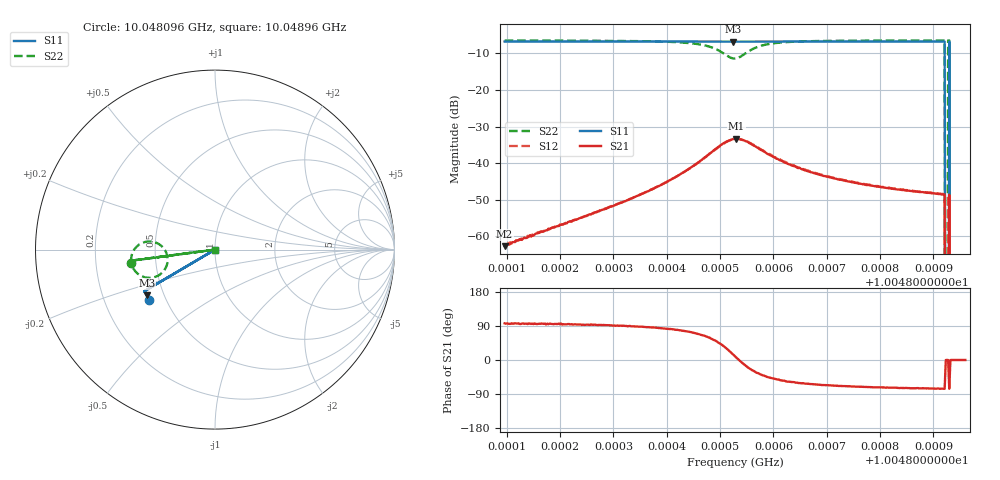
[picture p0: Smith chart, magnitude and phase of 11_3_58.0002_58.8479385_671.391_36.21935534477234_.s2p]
#  HZ  S  RI  R  50.00
! Rohde & Schwarz Vector Network Analyzer
! Rohde-Schwarz,ZNB20-2Port,1311601062101988,3.16
! Created: UTC 3/21/2024, 12:50:47 AM
! freq[Hz]  re:S11  im:S11  re:S21  im:S21  re:S12  im:S12  re:S22  im:S22
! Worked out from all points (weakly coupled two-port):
!   401 points, 10.048096 GHz to 10.04896 GHz, reference 50 ohm
!   highest |S21| = -33.35 dB at 10.04853 GHz (marker M1); lowest = -62.7 dB at 10.048096 GHz (marker M2)
!   lowest |S11| = -6.8 dB at 10.048524 GHz (marker M3), VSWR 2.68, Z = 20.1 - j12.9 ohm
!   |S11| at or under -10 dB: 10.048921 GHz to 10.04893 GHz (8.568 kHz wide, 8.53e-05 % of centre); 10.04893 GHz to end of sweep
!   |S22| runs from - to -6.5 dB; largest |S21 - S12| = 0.0037
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1.0048096e10  -0.3654 -0.2787  -8.51e-05 0.000728  -9.72e-05 0.000733  -0.4676 -0.0723
1.00482407e10  -0.371 -0.2706  -7.67e-05 0.0018  -0.000218 0.00181  -0.4676 -0.0529
1.00483854e10  -0.3764 -0.2623  0.000491 0.00483  0.000185 0.0049  -0.4584 -0.0153
1.00484697e10  -0.3791 -0.2569  0.00501 0.0106  0.00438 0.0107  -0.4068 0.0366
1.00484999e10  -0.3794 -0.2549  0.0126 0.0118  0.0116 0.0125  -0.3352 0.0411
1.00485237e10  -0.3793 -0.2539  0.0205 0.00568  0.0197 0.00738  -0.2693 -0.0238
1.0048528e10  -0.3793 -0.2539  0.021 0.00357  0.0206 0.00545  -0.2647 -0.0434
1.00485302e10  -0.3793 -0.2539  0.0214 0.00255  0.0209 0.00443  -0.264 -0.0535
1.00485539e10  -0.3803 -0.2538  0.0177 -0.00685  0.0184 -0.00541  -0.308 -0.1396
1.00485842e10  -0.3821 -0.2525  0.0104 -0.00953  0.0113 -0.00875  -0.3837 -0.156
1.00486252e10  -0.384 -0.2502  0.00548 -0.00834  0.00622 -0.00797  -0.4302 -0.1344
1.00486727e10  -0.386 -0.2475  0.0033 -0.00668  0.00375 -0.00654  -0.4504 -0.1126
1.00488174e10  -0.3911 -0.2388  0.00133 -0.00433  0.00161 -0.00432  -0.4667 -0.0773
1.00489168e10  -0.3945 -0.2331  0.000921 -0.0036  0.00117 -0.00361  -0.4698 -0.0633
1.00489211e10  -0.3945 -0.2328  0.000903 -0.00362  0.00113 -0.0036  -0.47 -0.0629
1.00489233e10  0 0  0 0  0 0  0 0
1.00489254e10  0 0  0 0  0 0  0 0
1.00489276e10  0 0  0 0  0.0011 -0.00355  -0.4702 -0.0621
1.00489319e10  0 0  0 0  0 0  0 0
1.00489341e10  0 0  0 0  0 0  0 0
1.00489362e10  0 0  0 0  0 0  0 0
1.004896e10  0 0  0 0  0 0  0 0
